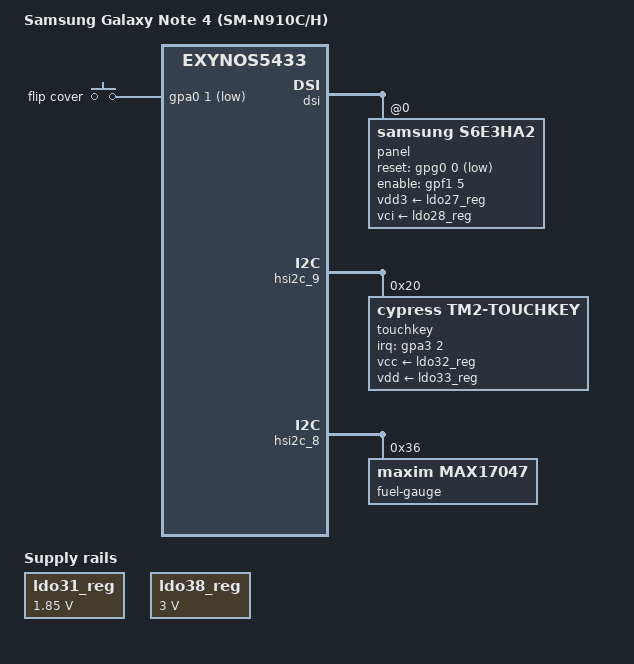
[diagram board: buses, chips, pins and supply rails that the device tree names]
// SPDX-License-Identifier: GPL-2.0
/*
 * Samsung Galaxy Note 4 Exynos (SM-N910C/H, "treltexx") — AArch32 build.
 *
 * The stock Samsung bootloader (S-Boot) and secure firmware on this phone
 * only start kernels in AArch32 state, so this file is compiled by the
 * 32-bit ARM kernel (arch/arm) while re-using the arm64 Exynos5433 SoC and
 * TM2 board descriptions: the Note 4 is the same Samsung reference design
 * as the TM2 (S2MPS13, MAX77843, S6E3HA2, STM FTS, WM5110, BCM4358/PCIe).
 */

#include <arm64/exynos/exynos5433-tm2-common.dtsi>

/ {
	model = "Samsung Galaxy Note 4 (SM-N910C/H)";
	compatible = "samsung,treltexx", "samsung,exynos5433";
	chassis-type = "handset";

	/*
	 * S-Boot picks the DTB out of the DTBH image by these properties
	 * (see tools/dtbhtool). Cover every board revision.
	 */
	model_info-chip = <5433>;
	model_info-platform = "trlte";
	model_info-subtype = "trlte_eur_open";
	model_info-hw_rev = <0>;
	model_info-hw_rev_end = <255>;

	/* Hall sensor for the S View / flip cover (low = magnet = closed) */
	hall-sensor {
		compatible = "gpio-keys";
		label = "flip cover";

		switch-lid {
			label = "flip cover";
			gpios = <&gpa0 1 GPIO_ACTIVE_LOW>;
			linux,input-type = <EV_SW>;
			linux,code = <SW_LID>;
			debounce-interval = <15>;
			wakeup-source;
		};
	};

	/* Android secure firmware is not PSCI (see enable-method below). */
	/delete-node/ psci;

	/*
	 * S-Boot rewrites "reg" of the memory node assuming 1 address/size
	 * cell (like the stock DTB), which is garbage with our 2-cell root.
	 * The kernel prefers linux,usable-memory over reg, and S-Boot leaves
	 * it alone. Top 0x980000 is TrustZone (ATAG_MEM ends at 0xdf680000).
	 */
	memory@20000000 {
		linux,usable-memory = <0x0 0x20000000 0x0 0xbf680000>;
	};

	reserved-memory {
		#address-cells = <2>;
		#size-cells = <2>;
		ranges;

		/* S-Boot splash framebuffer (s3cfb.bootloaderfb=0x67000000) */
		fb_mem: framebuffer@67000000 {
			reg = <0x0 0x67000000 0x0 0xe10000>;
			no-map;
		};

		/* 0x25fff000-0x26200000: sec_log ring, used by note4-seclog.c */
	};

	chosen {
		/* S-Boot rewrites bootargs; the kernel uses CONFIG_CMDLINE_FORCE. */
		bootargs = "";
	};
};

/* TV/HDMI path unused on the phone. */
&decon_tv {
	status = "disabled";
};

&hdmi {
	status = "disabled";
};

/* panel + DSI PHY supplies must stay up while S-Boot's setup is reused */
/*
 * Samsung S-Boot reboot modes (PMU INFORM3 = 0x12345670 | mode).
 * (Stock also sets INFORM2 = 0x12345678 to skip charge-only mode; a
 * second syscon-reboot-mode instance clashes in sysfs, so not done here.)
 */
&pmu_system_controller {
	reboot-mode-inform3 {
		compatible = "syscon-reboot-mode";
		offset = <0x80c>;
		mode-normal = <0x12345670>;
		mode-download = <0x12345671>;
		mode-upload = <0x12345672>;
		mode-recovery = <0x12345674>;
	};

};

/*
 * The max77693/max77843 CHARGER regulator computes register values relative
 * to its constraint minimum and clamps fast charge to 100 mA at boot;
 * fast-charge/input currents are programmed by max77843-charger instead.
 */
/delete-node/ &charger_reg;

&ldo6_reg {
	regulator-always-on;
};

&ldo7_reg {
	regulator-always-on;
};

&ldo27_reg {
	regulator-always-on;
};

&ldo28_reg {
	regulator-always-on;
};

/*
 * S-Boot may leave the watchdog running (downstream feeds it with a 30 s
 * timeout); mainline exynos5433.dtsi has no node for it, so add one so
 * that s3c2410_wdt can take it over.
 */
&soc {
	watchdog: watchdog@10020000 {
		compatible = "samsung,s3c6410-wdt";
		reg = <0x10020000 0x100>;
		interrupts = <GIC_SPI 101 IRQ_TYPE_LEVEL_HIGH>;
		clocks = <&cmu_peris CLK_PCLK_WDT_APOLLO>;
		clock-names = "watchdog";
		timeout-sec = <30>;
	};
};

/* Secondary cores: SYSRAM_NS boot address + PMU power-up (no PSCI). */
&cpu0 {
	enable-method = "samsung,exynos5433-aarch32-smp";
};

&cpu1 {
	enable-method = "samsung,exynos5433-aarch32-smp";
};

&cpu2 {
	enable-method = "samsung,exynos5433-aarch32-smp";
};

&cpu3 {
	enable-method = "samsung,exynos5433-aarch32-smp";
};

&cpu4 {
	enable-method = "samsung,exynos5433-aarch32-smp";
};

&cpu5 {
	enable-method = "samsung,exynos5433-aarch32-smp";
};

&cpu6 {
	enable-method = "samsung,exynos5433-aarch32-smp";
};

&cpu7 {
	enable-method = "samsung,exynos5433-aarch32-smp";
};

/* HDMI is disabled on the phone, so only the WM5110 path for the card */
&{/sound} {
	audio-codec = <&wm5110>;
	i2s-controller = <&i2s0 0>;
};

/*
 * Samsung's Android firmware does not program CNTVOFF on the secondary
 * cores, so the virtual counters of the 8 CPUs disagree by thousands of
 * seconds (wild printk timestamps, 1 s ping RTT, stalls). Use the global
 * physical counter instead.
 */
&timer {
	arm,cpu-registers-not-fw-configured;
};

/*
 * Don't advertise USB 2.0 LPM: the host parks the link in L1 between
 * packets and dwc3 never wakes it to send IN data, so every reply waited
 * for the host's next packet (300-1000 ms ping, ~70 KB/s over NCM).
 */
&usbdrd_dwc3 {
	snps,usb2-gadget-lpm-disable;
};

/*
 * Mali-T760 DVFS: G3D_PLL stays at the 800 MHz S-Boot programs and only the
 * ACLK_G3D divider changes (re-locking the PLL at runtime hangs the SoC), so
 * offer the rates reachable as 800 MHz / n. Voltages follow the mainline
 * table (above the vendor ASV values for this chip).
 */
/* S-Boot leaves G3D_PLL at 266 MHz: set it once at probe, GPU still idle */
&cmu_g3d {
	assigned-clocks = <&cmu_g3d CLK_FOUT_G3D_PLL>;
	assigned-clock-rates = <900000000>;
};

&gpu_opp_table {
	/delete-node/ opp-160000000;
	/delete-node/ opp-267000000;
	/delete-node/ opp-350000000;
	/delete-node/ opp-420000000;
	/delete-node/ opp-500000000;
	/delete-node/ opp-550000000;
	/delete-node/ opp-600000000;
	/delete-node/ opp-700000000;

	/* G3D_PLL fixed at 900 MHz; DVFS only via DIV_G3D (900/n). Volts: stock ASV0 + margin. */
	opp-150000000 {
		opp-hz = /bits/ 64 <150000000>;
		opp-microvolt = <900000>;
	};

	opp-180000000 {
		opp-hz = /bits/ 64 <180000000>;
		opp-microvolt = <900000>;
	};

	opp-225000000 {
		opp-hz = /bits/ 64 <225000000>;
		opp-microvolt = <912500>;
	};

	opp-300000000 {
		opp-hz = /bits/ 64 <300000000>;
		opp-microvolt = <950000>;
	};

	opp-450000000 {
		opp-hz = /bits/ 64 <450000000>;
		opp-microvolt = <1000000>;
	};
};

/* Home button opens/closes the Phosh overview (Super) */
&{/gpio-keys/homepage-key} {
	linux,code = <KEY_LEFTMETA>;
};

&cmu_disp {
	/* same DISP_PLL rate as TM2 (same S6E3HA2 WQHD panel) */
	assigned-clocks = <&cmu_disp CLK_FOUT_DISP_PLL>,
			  <&cmu_mif CLK_DIV_SCLK_DECON_TV_ECLK>,
			  <&cmu_disp CLK_MOUT_ACLK_DISP_333_USER>,
			  <&cmu_disp CLK_MOUT_SCLK_DSIM0_USER>,
			  <&cmu_disp CLK_MOUT_SCLK_DSIM0>,
			  <&cmu_disp CLK_MOUT_SCLK_DECON_ECLK_USER>,
			  <&cmu_disp CLK_MOUT_SCLK_DECON_ECLK>,
			  <&cmu_disp CLK_MOUT_PHYCLK_MIPIDPHY0_RXCLKESC0_USER>,
			  <&cmu_disp CLK_MOUT_PHYCLK_MIPIDPHY0_BITCLKDIV8_USER>,
			  <&cmu_disp CLK_MOUT_DISP_PLL>,
			  <&cmu_mif CLK_MOUT_SCLK_DECON_TV_ECLK_A>,
			  <&cmu_disp CLK_MOUT_SCLK_DECON_TV_ECLK_USER>,
			  <&cmu_disp CLK_MOUT_SCLK_DECON_TV_ECLK>,
			  <&cmu_disp CLK_MOUT_SCLK_DSD_USER>;
	assigned-clock-parents = <0>, <0>,
				 <&cmu_mif CLK_ACLK_DISP_333>,
				 <&cmu_mif CLK_SCLK_DSIM0_DISP>,
				 <&cmu_disp CLK_MOUT_SCLK_DSIM0_USER>,
				 <&cmu_mif CLK_SCLK_DECON_ECLK_DISP>,
				 <&cmu_disp CLK_MOUT_SCLK_DECON_ECLK_USER>,
				 <&cmu_disp CLK_PHYCLK_MIPIDPHY0_RXCLKESC0_PHY>,
				 <&cmu_disp CLK_PHYCLK_MIPIDPHY0_BITCLKDIV8_PHY>,
				 <&cmu_disp CLK_FOUT_DISP_PLL>,
				 <&cmu_mif CLK_MOUT_BUS_PLL_DIV2>,
				 <&cmu_mif CLK_SCLK_DECON_TV_ECLK_DISP>,
				 <&cmu_disp CLK_MOUT_SCLK_DECON_TV_ECLK_USER>,
				 <&cmu_mif CLK_SCLK_DSD_DISP>;
	assigned-clock-rates = <250000000>, <400000000>;
};

&dsi {
	panel@0 {
		compatible = "samsung,s6e3ha2";
		/* retail Note 4 OCTA (ID 40 81 xx): vendor sends BD 11 for touch hsync */
		samsung,touch-hsync-alt;
		reg = <0>;
		vdd3-supply = <&ldo27_reg>;
		vci-supply = <&ldo28_reg>;
		reset-gpios = <&gpg0 0 GPIO_ACTIVE_LOW>;
		enable-gpios = <&gpf1 5 GPIO_ACTIVE_HIGH>;
	};
};

/* Capacitive recent-apps / back keys: same Cypress controller as TM2 */
&hsi2c_9 {
	status = "okay";

	touchkey@20 {
		compatible = "cypress,tm2-touchkey";
		reg = <0x20>;
		interrupt-parent = <&gpa3>;
		interrupts = <2 IRQ_TYPE_EDGE_FALLING>;
		vcc-supply = <&ldo32_reg>;
		vdd-supply = <&ldo33_reg>;
		/* recent-apps -> Super (Phosh overview), back -> Back */
		linux,keycodes = <KEY_LEFTMETA KEY_BACK>;
	};
};

&ldo31_reg {
	regulator-name = "TSP_VDD_1.85V_AP";
	regulator-min-microvolt = <1850000>;
	regulator-max-microvolt = <1850000>;
};

&ldo38_reg {
	regulator-name = "VCC_3.0V_MOTOR_AP";
	regulator-min-microvolt = <3000000>;
	regulator-max-microvolt = <3000000>;
};

/*
 * MAX77843 fuel gauge (MAX17047 ModelGauge core) answers at 0x36 next to
 * the PMIC at 0x66; Note 4 pack is 3220 mAh / 4.35 V, 10 mOhm sense.
 */
&hsi2c_8 {
	fuel-gauge@36 {
		compatible = "maxim,max17047";
		reg = <0x36>;
		maxim,rsns-microohm = <10000>;
		maxim,over-heat-temp = <600>;
		maxim,dead-volt = <3200>;
		maxim,over-volt = <4400>;
	};
};

&stmfts {
	touchscreen-size-x = <1439>;
	touchscreen-size-y = <2559>;
	/* Note 4 FTS firmware: reset via register, interrupt off by default */
	st,needs-int-enable;
};

/* BCM4773 GNSS / sensor hub on SPI0 (driver: sensorhub/bbd.ko + ssp_bbd.ko) */
/*
 * Tell the scheduler the clusters are asymmetric (A53 @1.3 GHz vs A57 @1.9 GHz).
 * Without this both get capacity 1024 and UI threads sit on the slow cores.
 */
&cpu0 { capacity-dmips-mhz = <578>; };
&cpu1 { capacity-dmips-mhz = <578>; };
&cpu2 { capacity-dmips-mhz = <578>; };
&cpu3 { capacity-dmips-mhz = <578>; };
&cpu4 { capacity-dmips-mhz = <1024>; };
&cpu5 { capacity-dmips-mhz = <1024>; };
&cpu6 { capacity-dmips-mhz = <1024>; };
&cpu7 { capacity-dmips-mhz = <1024>; };

#include "exynos5433-treltexx-sensorhub.dtsi"
